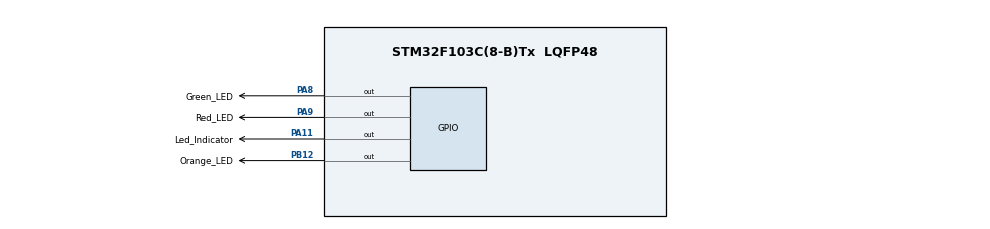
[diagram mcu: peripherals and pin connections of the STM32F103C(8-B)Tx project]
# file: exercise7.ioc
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FREERTOS.Tasks01=defaultTask,24,128,StartDefaultTask,Default,NULL,Dynamic,NULL,NULL;FlashGreenLed,24,128,FlashGreenLedTask,Default,NULL,Dynamic,NULL,NULL;FlashRedLed,24,128,FlashRedLedTask,Default,NULL,Dynamic,NULL,NULL;FlashOrangeLed,32,128,FlashOrangeLedTask,Default,NULL,Dynamic,NULL,NULL
Mcu.Family=STM32F1
Mcu.Name=STM32F103C(8-B)Tx
Mcu.Package=LQFP48
NVIC.PriorityGroup=NVIC_PRIORITYGROUP_4
PA11.GPIO_Label=Led_Indicator
PA11.Signal=GPIO_Output
PA13.Mode=Serial_Wire
PA13.Signal=SYS_JTMS-SWDIO
PA14.Mode=Serial_Wire
PA14.Signal=SYS_JTCK-SWCLK
PA8.GPIO_Label=Green_LED
PA8.Signal=GPIO_Output
PA9.GPIO_Label=Red_LED
PA9.Signal=GPIO_Output
PB12.GPIO_Label=Orange_LED
PB12.PinState=GPIO_PIN_RESET
PB12.Signal=GPIO_Output
ProjectManager.HeapSize=0x200
ProjectManager.StackSize=0x400
ProjectManager.TargetToolchain=STM32CubeIDE
RCC.APB1Freq_Value=8000000
RCC.APB2Freq_Value=8000000
VP_FREERTOS_VS_CMSIS_V2.Mode=CMSIS_V2
board=custom

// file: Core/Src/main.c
/* USER CODE BEGIN Header */
/**
  ******************************************************************************
  * @file           : main.c
  * @brief          : Main program body
  ******************************************************************************
  * @attention
  *
  * Copyright (c) 2024 STMicroelectronics.
  * All rights reserved.
  *
  * This software is licensed under terms that can be found in the LICENSE file
  * in the root directory of this software component.
  * If no LICENSE file comes with this software, it is provided AS-IS.
  *
  ******************************************************************************
  */
/* USER CODE END Header */
#include "main.h"
#include "cmsis_os.h"

/* Definitions for defaultTask */
osThreadId_t defaultTaskHandle;
const osThreadAttr_t defaultTask_attributes = {
  .name = "defaultTask",
  .stack_size = 128 * 4,
  .priority = (osPriority_t) osPriorityNormal,
};
/* Definitions for FlashGreenLed */
osThreadId_t FlashGreenLedHandle;
const osThreadAttr_t FlashGreenLed_attributes = {
  .name = "FlashGreenLed",
  .stack_size = 128 * 4,
  .priority = (osPriority_t) osPriorityNormal,
};
/* Definitions for FlashRedLed */
osThreadId_t FlashRedLedHandle;
const osThreadAttr_t FlashRedLed_attributes = {
  .name = "FlashRedLed",
  .stack_size = 128 * 4,
  .priority = (osPriority_t) osPriorityNormal,
};
/* Definitions for FlashOrangeLed */
osThreadId_t FlashOrangeLedHandle;
const osThreadAttr_t FlashOrangeLed_attributes = {
  .name = "FlashOrangeLed",
  .stack_size = 128 * 4,
  .priority = (osPriority_t) osPriorityAboveNormal,
};
/* USER CODE BEGIN PV */
volatile int StartFlag = 1;

void AccessSharedResource() {
    portENTER_CRITICAL();
	if (StartFlag == 1) {                   // Jika sumber daya tersedia
        StartFlag = 0;                      // Tandai sumber daya sedang diakses
    } else {
        HAL_GPIO_WritePin(Led_Indicator_GPIO_Port, Led_Indicator_Pin, GPIO_PIN_SET); // LED Biru ON, menandakan kontensi
    }
    osDelay(1000);
    StartFlag = 1;
    HAL_GPIO_WritePin(Led_Indicator_GPIO_Port, Led_Indicator_Pin, GPIO_PIN_RESET);
    portEXIT_CRITICAL();
}
/* USER CODE END PV */

void SystemClock_Config(void);
static void MX_GPIO_Init(void);
void StartDefaultTask(void *argument);
void FlashGreenLedTask(void *argument);
void FlashRedLedTask(void *argument);
void FlashOrangeLedTask(void *argument);

int main(void)
{

  /* MCU Configuration--------------------------------------------------------*/

  /* Reset of all peripherals, Initializes the Flash interface and the Systick. */
  HAL_Init();

  /* Configure the system clock */
  SystemClock_Config();

  /* Initialize all configured peripherals */
  MX_GPIO_Init();

  /* Init scheduler */
  osKernelInitialize();

  /* Create the thread(s) */
  /* creation of defaultTask */
  defaultTaskHandle = osThreadNew(StartDefaultTask, NULL, &defaultTask_attributes);

  /* creation of FlashGreenLed */
  FlashGreenLedHandle = osThreadNew(FlashGreenLedTask, NULL, &FlashGreenLed_attributes);

  /* creation of FlashRedLed */
  FlashRedLedHandle = osThreadNew(FlashRedLedTask, NULL, &FlashRedLed_attributes);

  /* creation of FlashOrangeLed */
  FlashOrangeLedHandle = osThreadNew(FlashOrangeLedTask, NULL, &FlashOrangeLed_attributes);

  /* Start scheduler */
  osKernelStart();

  /* We should never get here as control is now taken by the scheduler */

  /* Infinite loop */
  while (1)
  {

  }
}

void SystemClock_Config(void)
{
  RCC_OscInitTypeDef RCC_OscInitStruct = {0};
  RCC_ClkInitTypeDef RCC_ClkInitStruct = {0};

  /** Initializes the RCC Oscillators according to the specified parameters
  * in the RCC_OscInitTypeDef structure.
  */
  RCC_OscInitStruct.OscillatorType = RCC_OSCILLATORTYPE_HSI;
  RCC_OscInitStruct.HSIState = RCC_HSI_ON;
  RCC_OscInitStruct.HSICalibrationValue = RCC_HSICALIBRATION_DEFAULT;
  RCC_OscInitStruct.PLL.PLLState = RCC_PLL_NONE;
  if (HAL_RCC_OscConfig(&RCC_OscInitStruct) != HAL_OK)
  {
    Error_Handler();
  }

  /** Initializes the CPU, AHB and APB buses clocks
  */
  RCC_ClkInitStruct.ClockType = RCC_CLOCKTYPE_HCLK|RCC_CLOCKTYPE_SYSCLK
                              |RCC_CLOCKTYPE_PCLK1|RCC_CLOCKTYPE_PCLK2;
  RCC_ClkInitStruct.SYSCLKSource = RCC_SYSCLKSOURCE_HSI;
  RCC_ClkInitStruct.AHBCLKDivider = RCC_SYSCLK_DIV1;
  RCC_ClkInitStruct.APB1CLKDivider = RCC_HCLK_DIV1;
  RCC_ClkInitStruct.APB2CLKDivider = RCC_HCLK_DIV1;

  if (HAL_RCC_ClockConfig(&RCC_ClkInitStruct, FLASH_LATENCY_0) != HAL_OK)
  {
    Error_Handler();
  }
}

static void MX_GPIO_Init(void)
{
  GPIO_InitTypeDef GPIO_InitStruct = {0};

  /* GPIO Ports Clock Enable */
  __HAL_RCC_GPIOB_CLK_ENABLE();
  __HAL_RCC_GPIOA_CLK_ENABLE();

  /*Configure GPIO pin Output Level */
  HAL_GPIO_WritePin(Orange_LED_GPIO_Port, Orange_LED_Pin, GPIO_PIN_RESET);

  /*Configure GPIO pin Output Level */
  HAL_GPIO_WritePin(GPIOA, Green_LED_Pin|Red_LED_Pin|Led_Indicator_Pin, GPIO_PIN_RESET);

  /*Configure GPIO pin : Orange_LED_Pin */
  GPIO_InitStruct.Pin = Orange_LED_Pin;
  GPIO_InitStruct.Mode = GPIO_MODE_OUTPUT_PP;
  GPIO_InitStruct.Pull = GPIO_NOPULL;
  GPIO_InitStruct.Speed = GPIO_SPEED_FREQ_LOW;
  HAL_GPIO_Init(Orange_LED_GPIO_Port, &GPIO_InitStruct);

  /*Configure GPIO pins : Green_LED_Pin Red_LED_Pin Led_Indicator_Pin */
  GPIO_InitStruct.Pin = Green_LED_Pin|Red_LED_Pin|Led_Indicator_Pin;
  GPIO_InitStruct.Mode = GPIO_MODE_OUTPUT_PP;
  GPIO_InitStruct.Pull = GPIO_NOPULL;
  GPIO_InitStruct.Speed = GPIO_SPEED_FREQ_LOW;
  HAL_GPIO_Init(GPIOA, &GPIO_InitStruct);

}

void StartDefaultTask(void *argument)
{
  for(;;)
  {
    osDelay(1);
  }
}

void FlashGreenLedTask(void *argument)
{
  /* USER CODE BEGIN FlashGreenLedTask */
  /* Infinite loop */
  for(;;)
  {
	  HAL_GPIO_WritePin(Green_LED_GPIO_Port, Green_LED_Pin, GPIO_PIN_SET); // Turn Blue LED on
	  AccessSharedResource();
	  osDelay(200);
	  HAL_GPIO_WritePin(Green_LED_GPIO_Port, Green_LED_Pin,	 GPIO_PIN_RESET);
	  osDelay(200);
  }
  /* USER CODE END FlashGreenLedTask */
}

void FlashRedLedTask(void *argument)
{
  /* USER CODE BEGIN FlashRedLedTask */
  /* Infinite loop */
  for(;;)
  {
	  HAL_GPIO_WritePin(Red_LED_GPIO_Port, Red_LED_Pin, GPIO_PIN_SET); // Turn Blue LED on
	  AccessSharedResource();
	  osDelay(550);
	  HAL_GPIO_WritePin(Red_LED_GPIO_Port, Red_LED_Pin, GPIO_PIN_RESET);
	  osDelay(550);
  }
  /* USER CODE END FlashRedLedTask */
}

void FlashOrangeLedTask(void *argument)
{
  /* USER CODE BEGIN FlashOrangeLedTask */
  /* Infinite loop */
  for(;;)
  {
	  HAL_GPIO_WritePin(Orange_LED_GPIO_Port, Orange_LED_Pin, GPIO_PIN_SET); // Turn Blue LED on
	  osDelay(50);
	  HAL_GPIO_WritePin(Orange_LED_GPIO_Port, Orange_LED_Pin, GPIO_PIN_RESET);
	  osDelay(50);
  }
  /* USER CODE END FlashOrangeLedTask */
}

void Error_Handler(void)
{
  __disable_irq();
  while (1)
  {
  }
}
